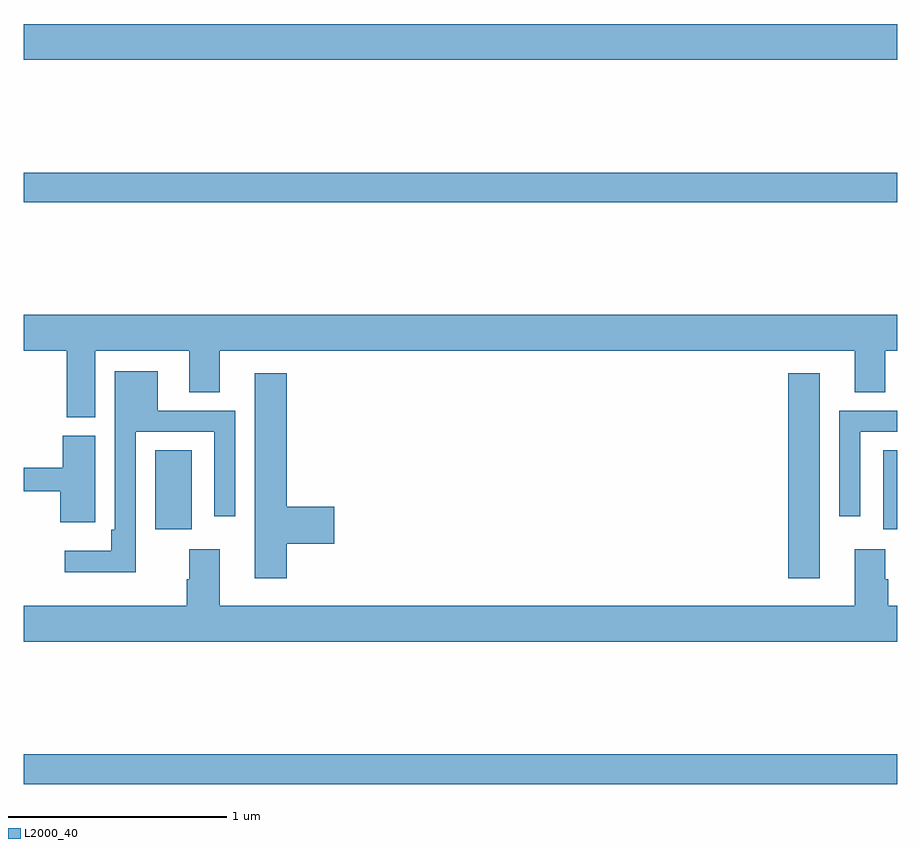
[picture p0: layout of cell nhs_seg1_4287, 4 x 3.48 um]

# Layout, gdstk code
import gdstk
lib = gdstk.Library(unit=1e-6, precision=1e-09)
def R(c, l, rs):  # rectangles x0, y0, x1, y1
    for r in rs: c.add(gdstk.rectangle(r[:2], r[2:], *l))
def P(c, l, *ps):  # polygons
    for p in ps: c.add(gdstk.Polygon(p, *l))
L2000_40 = (2000, 40)

nhs_seg1_4287 = lib.new_cell('nhs_seg1_4287')
R(nhs_seg1_4287, L2000_40, [(345,504.46,349,504.596), (348.5,505.401,348.646,506.341), (345.602,505.626,345.769,505.988), (348.935,505.626,349,505.988), (345,507.124,349,507.26), (345,507.776,349,507.94)])
P(nhs_seg1_4287, L2000_40, [(345.328,506.444),(345.758,506.444),(345.758,506.254),(345.898,506.254),(345.898,506.444),(348.806,506.444),(348.806,506.254),(348.946,506.254),(348.946,506.444),(349,506.444),(349,506.608),(345,506.608),(345,506.444),(345.197,506.444),(345.197,506.14),(345.328,506.14)],
  [(345.513,506.073),(345.873,506.073),(345.873,505.686),(345.969,505.686),(345.969,506.169),(345.613,506.169),(345.613,506.35),(345.417,506.35),(345.417,505.624),(345.401,505.624),(345.401,505.528),(345.189,505.528),(345.189,505.43),(345.513,505.43)],
  [(346.205,505.559),(346.423,505.559),(346.423,505.73),(346.205,505.73),(346.205,506.341),(346.058,506.341),(346.058,505.401),(346.205,505.401)],
  [(348.831,506.073),(349,506.073),(349,506.169),(348.735,506.169),(348.735,505.686),(348.831,505.686)],
  [(345.327,505.771),(345.328,505.771),(345.328,506.055),(345.179,506.055),(345.179,505.909),(345,505.909),(345,505.8),(345.167,505.8),(345.167,505.659),(345.327,505.659)],
  [(349,505.276),(348.959,505.276),(348.959,505.397),(348.946,505.397),(348.946,505.534),(348.806,505.534),(348.806,505.276),(345.898,505.276),(345.898,505.534),(345.758,505.534),(345.758,505.397),(345.746,505.397),(345.746,505.276),(345,505.276),(345,505.112),(349,505.112)])

lib.write_gds('nhs_seg1_4287.gds')
